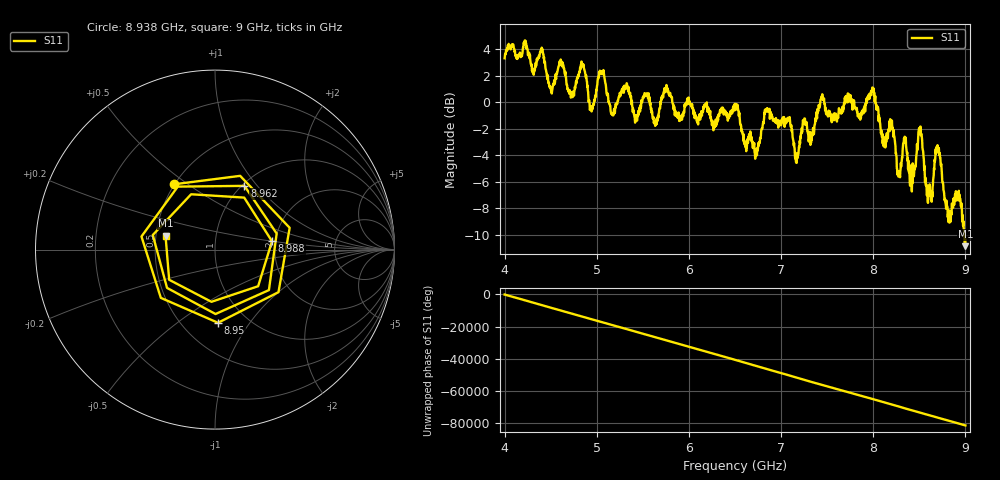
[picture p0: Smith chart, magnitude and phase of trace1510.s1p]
! Created with skrf 1.8.0 (http://scikit-rf.org).
# Hz S RI R 50.0
!freq ReS11 ImS11
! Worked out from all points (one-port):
!   1601 points, 4 GHz to 9 GHz, reference 50 ohm
!   lowest |S11| = -10.9 dB at 9 GHz (marker M1), VSWR 1.80, Z = 28.1 + j4.75 ohm
!   |S11| at or under -10 dB: 8.990521 GHz to end of sweep
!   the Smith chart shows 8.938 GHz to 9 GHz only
!   S11 on the Smith chart (normalised r, x): 8.938 GHz: 0.50, +0.44; 8.95 GHz: 0.74, -0.72; 8.962 GHz: 1.03, +0.86; 8.988 GHz: 1.92, +0.20; 9 GHz: 0.56, +0.09
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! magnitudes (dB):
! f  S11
! 4 GHz  3.3
! 4.509 GHz  1.0
! 4.625 GHz  3.0
! 4.728 GHz  0.8
! 4.85 GHz  2.8
! 4.944 GHz  -0.7
! 5.05 GHz  2.3
! 5.166 GHz  -0.9
! 5.25 GHz  0.7
! 5.875 GHz  -1.1
! 6.5 GHz  -0.6
! 6.725 GHz  -3.7
! 6.85 GHz  -0.5
! 7.125 GHz  -2.6
! 7.75 GHz  0.4
! 7.997 GHz  0.9
! 8.278 GHz  -5.2
! 8.375 GHz  -4.2
! 8.422 GHz  -5.5
! 8.509 GHz  -2.3
! 8.606 GHz  -6.9
! 8.7 GHz  -3.4
! 8.816 GHz  -9.0
! 8.938 GHz  -7.3
! 8.95 GHz  -7.8
! 8.962 GHz  -8.2
! 8.988 GHz  -9.9
! 9 GHz  -10.9
